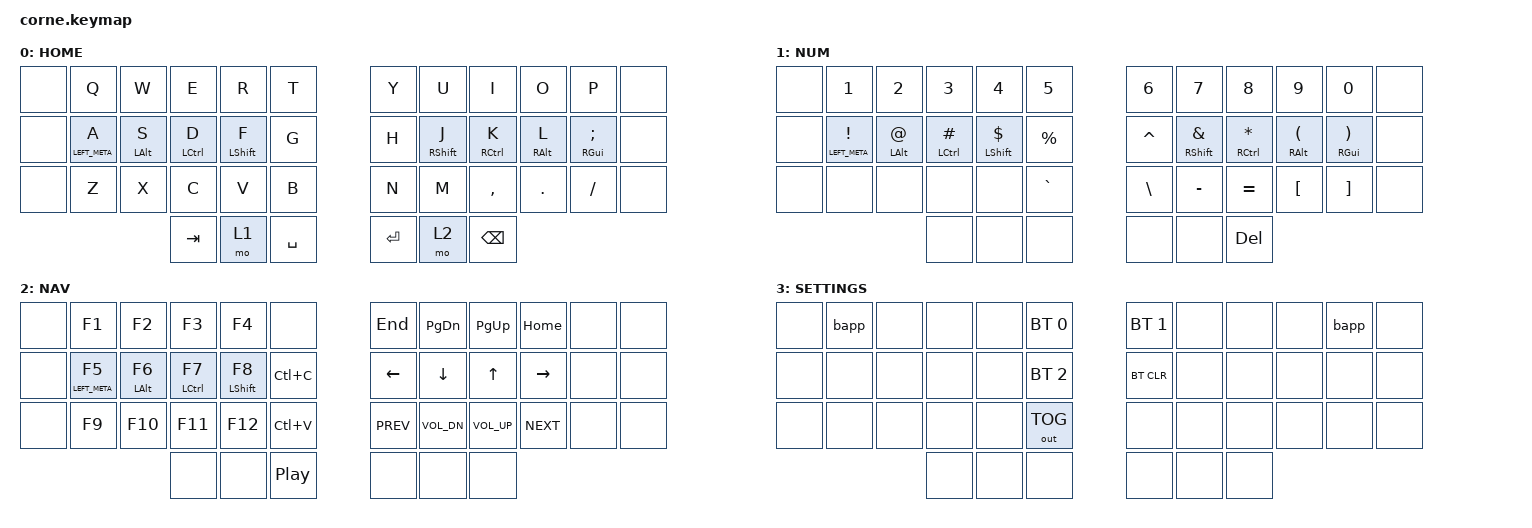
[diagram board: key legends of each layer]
/*
 * Copyright (c) 2020 The ZMK Contributors
 *
 * SPDX-License-Identifier: MIT
 */

#include <behaviors/battery_percentage_printer.dtsi>
#include <behaviors.dtsi>
#include <dt-bindings/zmk/bt.h>
#include <dt-bindings/zmk/keys.h>
#include <dt-bindings/zmk/outputs.h>

/ {
    behaviors {
        hm: homerow_mods {
            compatible = "zmk,behavior-hold-tap";
            label = "HOMEROW_MODS";
            bindings = <&kp>, <&kp>;

            #binding-cells = <2>;
            tapping-term-ms = <200>;
            flavor = "tap-preferred";
            require-prior-idle-ms = <125>;
            quick-tap-ms = <200>;
        };

        shifthr: shifthr {
            compatible = "zmk,behavior-hold-tap";
            label = "SHIFTHR";
            bindings = <&kp>, <&kp>;

            #binding-cells = <2>;
            tapping-term-ms = <185>;
            flavor = "tap-preferred";
            quick-tap-ms = <185>;
        };

        weak: weak {
            compatible = "zmk,behavior-hold-tap";
            label = "WEAK";
            bindings = <&kp>, <&kp>;

            #binding-cells = <2>;
            tapping-term-ms = <230>;
            flavor = "tap-preferred";
            require-prior-idle-ms = <125>;
            quick-tap-ms = <230>;
        };
    };

    combos {
        compatible = "zmk,combos";

        caps {
            bindings = <&kp CAPS>;
            key-positions = <16 19>;
        };

        esc {
            bindings = <&kp ESCAPE>;
            key-positions = <2 3>;
        };

        quote {
            bindings = <&kp SQT>;
            key-positions = <20 21>;
        };

        settings {
            bindings = <&sl 3>;
            key-positions = <38 39>;
        };
    };

    macros {
        save: save {
            compatible = "zmk,behavior-macro";
            #binding-cells = <0>;
            bindings = <&macro_tap>, <&kp ESCAPE &kp COLON &kp W &kp ENTER>;

            label = "SAVE";
        };
    };

    keymap {
        compatible = "zmk,keymap";

        Home-0 {
            display-name = "HOME";
            bindings = <
&none  &kp Q              &kp W             &kp E                    &kp R                  &kp T        &kp Y      &kp U              &kp I             &kp O              &kp P                      &none
&none  &weak LEFT_META A  &weak LEFT_ALT S  &shifthr LEFT_CONTROL D  &shifthr LEFT_SHIFT F  &kp G        &kp H      &shifthr RSHIFT J  &shifthr RCTRL K  &weak RIGHT_ALT L  &weak RIGHT_GUI SEMICOLON  &none
&none  &kp Z              &kp X             &kp C                    &kp V                  &kp B        &kp N      &kp M              &kp COMMA         &kp DOT            &kp SLASH                  &none
                                            &kp TAB                  &mo 1                  &kp SPACE    &kp ENTER  &mo 2              &kp BACKSPACE
            >;
        };

        Num-1 {
            display-name = "NUM";
            bindings = <
&none  &kp NUMBER_1                 &kp NUMBER_2            &kp NUMBER_3         &kp NUMBER_4                &kp N5         &kp NUMBER_6   &kp NUMBER_7                    &kp N8                           &kp N9                            &kp NUMBER_0                       &none
&none  &weak LEFT_META EXCLAMATION  &weak LEFT_ALT AT_SIGN  &shifthr LCTRL HASH  &shifthr LEFT_SHIFT DOLLAR  &kp PERCENT    &kp CARET      &shifthr RIGHT_SHIFT AMPERSAND  &shifthr RIGHT_CONTROL ASTERISK  &weak RIGHT_ALT LEFT_PARENTHESIS  &weak RIGHT_GUI RIGHT_PARENTHESIS  &none
&none  &none                        &none                   &none                &none                       &kp GRAVE      &kp BACKSLASH  &kp MINUS                       &kp EQUAL                        &kp LEFT_BRACKET                  &kp RIGHT_BRACKET                  &none
                                                            &none                &none                       &none          &none          &none                           &kp DEL
            >;
        };

        Nav-2 {
            display-name = "NAV";
            bindings = <
&none  &kp F1              &kp F2             &kp F3             &kp F4                  &none               &kp END         &kp PAGE_DOWN  &kp PG_UP        &kp HOME    &none  &none
&none  &weak LEFT_META F5  &weak LEFT_ALT F6  &shifthr LCTRL F7  &shifthr LEFT_SHIFT F8  &kp LC(C)           &kp LEFT_ARROW  &kp DOWN       &kp UP_ARROW     &kp RIGHT   &none  &none
&none  &kp F9              &kp F10            &kp F11            &kp F12                 &kp LC(V)           &kp C_PREV      &kp C_VOL_DN   &kp C_VOLUME_UP  &kp C_NEXT  &none  &none
                                              &none              &none                   &kp C_PLAY_PAUSE    &none           &none          &none
            >;
        };

        Setting-3 {
            display-name = "SETTINGS";
            bindings = <
&none  &bapp  &none  &none  &none  &bt BT_SEL 0    &bt BT_SEL 1  &none  &none  &none  &bapp  &none
&none  &none  &none  &none  &none  &bt BT_SEL 2    &bt BT_CLR    &none  &none  &none  &none  &none
&none  &none  &none  &none  &none  &out OUT_TOG    &none         &none  &none  &none  &none  &none
                     &none  &none  &none           &none         &none  &none
            >;
        };
    };
};

